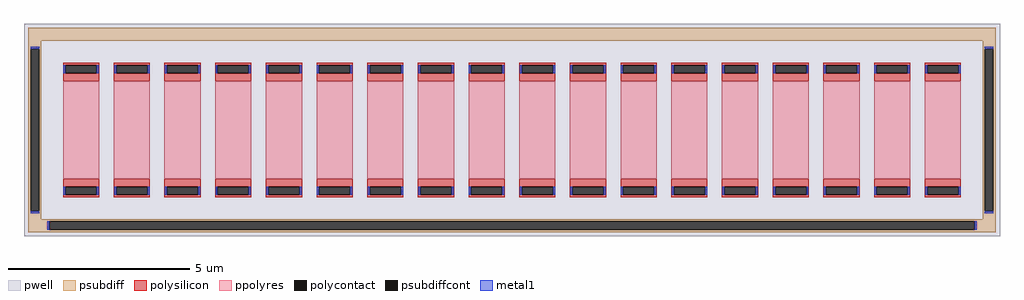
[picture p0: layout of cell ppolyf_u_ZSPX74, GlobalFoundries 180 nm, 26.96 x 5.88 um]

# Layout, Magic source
magic
tech gf180mcuD
magscale 1 10
<< pwell >>
rect -2696 -588 2696 588
<< psubdiff >>
rect -2672 492 2672 564
rect -2672 448 -2600 492
rect -2672 -448 -2659 448
rect -2613 -448 -2600 448
rect 2600 448 2672 492
rect -2672 -492 -2600 -448
rect 2600 -448 2613 448
rect 2659 -448 2672 448
rect 2600 -492 2672 -448
rect -2672 -505 2672 -492
rect -2672 -551 -2556 -505
rect 2556 -551 2672 -505
rect -2672 -564 2672 -551
<< psubdiffcont >>
rect -2659 -448 -2613 448
rect 2613 -448 2659 448
rect -2556 -551 2556 -505
<< polysilicon >>
rect -2480 359 -2280 372
rect -2480 313 -2467 359
rect -2293 313 -2280 359
rect -2480 270 -2280 313
rect -2480 -313 -2280 -270
rect -2480 -359 -2467 -313
rect -2293 -359 -2280 -313
rect -2480 -372 -2280 -359
rect -2200 359 -2000 372
rect -2200 313 -2187 359
rect -2013 313 -2000 359
rect -2200 270 -2000 313
rect -2200 -313 -2000 -270
rect -2200 -359 -2187 -313
rect -2013 -359 -2000 -313
rect -2200 -372 -2000 -359
rect -1920 359 -1720 372
rect -1920 313 -1907 359
rect -1733 313 -1720 359
rect -1920 270 -1720 313
rect -1920 -313 -1720 -270
rect -1920 -359 -1907 -313
rect -1733 -359 -1720 -313
rect -1920 -372 -1720 -359
rect -1640 359 -1440 372
rect -1640 313 -1627 359
rect -1453 313 -1440 359
rect -1640 270 -1440 313
rect -1640 -313 -1440 -270
rect -1640 -359 -1627 -313
rect -1453 -359 -1440 -313
rect -1640 -372 -1440 -359
rect -1360 359 -1160 372
rect -1360 313 -1347 359
rect -1173 313 -1160 359
rect -1360 270 -1160 313
rect -1360 -313 -1160 -270
rect -1360 -359 -1347 -313
rect -1173 -359 -1160 -313
rect -1360 -372 -1160 -359
rect -1080 359 -880 372
rect -1080 313 -1067 359
rect -893 313 -880 359
rect -1080 270 -880 313
rect -1080 -313 -880 -270
rect -1080 -359 -1067 -313
rect -893 -359 -880 -313
rect -1080 -372 -880 -359
rect -800 359 -600 372
rect -800 313 -787 359
rect -613 313 -600 359
rect -800 270 -600 313
rect -800 -313 -600 -270
rect -800 -359 -787 -313
rect -613 -359 -600 -313
rect -800 -372 -600 -359
rect -520 359 -320 372
rect -520 313 -507 359
rect -333 313 -320 359
rect -520 270 -320 313
rect -520 -313 -320 -270
rect -520 -359 -507 -313
rect -333 -359 -320 -313
rect -520 -372 -320 -359
rect -240 359 -40 372
rect -240 313 -227 359
rect -53 313 -40 359
rect -240 270 -40 313
rect -240 -313 -40 -270
rect -240 -359 -227 -313
rect -53 -359 -40 -313
rect -240 -372 -40 -359
rect 40 359 240 372
rect 40 313 53 359
rect 227 313 240 359
rect 40 270 240 313
rect 40 -313 240 -270
rect 40 -359 53 -313
rect 227 -359 240 -313
rect 40 -372 240 -359
rect 320 359 520 372
rect 320 313 333 359
rect 507 313 520 359
rect 320 270 520 313
rect 320 -313 520 -270
rect 320 -359 333 -313
rect 507 -359 520 -313
rect 320 -372 520 -359
rect 600 359 800 372
rect 600 313 613 359
rect 787 313 800 359
rect 600 270 800 313
rect 600 -313 800 -270
rect 600 -359 613 -313
rect 787 -359 800 -313
rect 600 -372 800 -359
rect 880 359 1080 372
rect 880 313 893 359
rect 1067 313 1080 359
rect 880 270 1080 313
rect 880 -313 1080 -270
rect 880 -359 893 -313
rect 1067 -359 1080 -313
rect 880 -372 1080 -359
rect 1160 359 1360 372
rect 1160 313 1173 359
rect 1347 313 1360 359
rect 1160 270 1360 313
rect 1160 -313 1360 -270
rect 1160 -359 1173 -313
rect 1347 -359 1360 -313
rect 1160 -372 1360 -359
rect 1440 359 1640 372
rect 1440 313 1453 359
rect 1627 313 1640 359
rect 1440 270 1640 313
rect 1440 -313 1640 -270
rect 1440 -359 1453 -313
rect 1627 -359 1640 -313
rect 1440 -372 1640 -359
rect 1720 359 1920 372
rect 1720 313 1733 359
rect 1907 313 1920 359
rect 1720 270 1920 313
rect 1720 -313 1920 -270
rect 1720 -359 1733 -313
rect 1907 -359 1920 -313
rect 1720 -372 1920 -359
rect 2000 359 2200 372
rect 2000 313 2013 359
rect 2187 313 2200 359
rect 2000 270 2200 313
rect 2000 -313 2200 -270
rect 2000 -359 2013 -313
rect 2187 -359 2200 -313
rect 2000 -372 2200 -359
rect 2280 359 2480 372
rect 2280 313 2293 359
rect 2467 313 2480 359
rect 2280 270 2480 313
rect 2280 -313 2480 -270
rect 2280 -359 2293 -313
rect 2467 -359 2480 -313
rect 2280 -372 2480 -359
<< polycontact >>
rect -2467 313 -2293 359
rect -2467 -359 -2293 -313
rect -2187 313 -2013 359
rect -2187 -359 -2013 -313
rect -1907 313 -1733 359
rect -1907 -359 -1733 -313
rect -1627 313 -1453 359
rect -1627 -359 -1453 -313
rect -1347 313 -1173 359
rect -1347 -359 -1173 -313
rect -1067 313 -893 359
rect -1067 -359 -893 -313
rect -787 313 -613 359
rect -787 -359 -613 -313
rect -507 313 -333 359
rect -507 -359 -333 -313
rect -227 313 -53 359
rect -227 -359 -53 -313
rect 53 313 227 359
rect 53 -359 227 -313
rect 333 313 507 359
rect 333 -359 507 -313
rect 613 313 787 359
rect 613 -359 787 -313
rect 893 313 1067 359
rect 893 -359 1067 -313
rect 1173 313 1347 359
rect 1173 -359 1347 -313
rect 1453 313 1627 359
rect 1453 -359 1627 -313
rect 1733 313 1907 359
rect 1733 -359 1907 -313
rect 2013 313 2187 359
rect 2013 -359 2187 -313
rect 2293 313 2467 359
rect 2293 -359 2467 -313
<< ppolyres >>
rect -2480 -270 -2280 270
rect -2200 -270 -2000 270
rect -1920 -270 -1720 270
rect -1640 -270 -1440 270
rect -1360 -270 -1160 270
rect -1080 -270 -880 270
rect -800 -270 -600 270
rect -520 -270 -320 270
rect -240 -270 -40 270
rect 40 -270 240 270
rect 320 -270 520 270
rect 600 -270 800 270
rect 880 -270 1080 270
rect 1160 -270 1360 270
rect 1440 -270 1640 270
rect 1720 -270 1920 270
rect 2000 -270 2200 270
rect 2280 -270 2480 270
<< metal1 >>
rect -2659 448 -2613 459
rect 2613 448 2659 459
rect -2478 313 -2467 359
rect -2293 313 -2282 359
rect -2198 313 -2187 359
rect -2013 313 -2002 359
rect -1918 313 -1907 359
rect -1733 313 -1722 359
rect -1638 313 -1627 359
rect -1453 313 -1442 359
rect -1358 313 -1347 359
rect -1173 313 -1162 359
rect -1078 313 -1067 359
rect -893 313 -882 359
rect -798 313 -787 359
rect -613 313 -602 359
rect -518 313 -507 359
rect -333 313 -322 359
rect -238 313 -227 359
rect -53 313 -42 359
rect 42 313 53 359
rect 227 313 238 359
rect 322 313 333 359
rect 507 313 518 359
rect 602 313 613 359
rect 787 313 798 359
rect 882 313 893 359
rect 1067 313 1078 359
rect 1162 313 1173 359
rect 1347 313 1358 359
rect 1442 313 1453 359
rect 1627 313 1638 359
rect 1722 313 1733 359
rect 1907 313 1918 359
rect 2002 313 2013 359
rect 2187 313 2198 359
rect 2282 313 2293 359
rect 2467 313 2478 359
rect -2478 -359 -2467 -313
rect -2293 -359 -2282 -313
rect -2198 -359 -2187 -313
rect -2013 -359 -2002 -313
rect -1918 -359 -1907 -313
rect -1733 -359 -1722 -313
rect -1638 -359 -1627 -313
rect -1453 -359 -1442 -313
rect -1358 -359 -1347 -313
rect -1173 -359 -1162 -313
rect -1078 -359 -1067 -313
rect -893 -359 -882 -313
rect -798 -359 -787 -313
rect -613 -359 -602 -313
rect -518 -359 -507 -313
rect -333 -359 -322 -313
rect -238 -359 -227 -313
rect -53 -359 -42 -313
rect 42 -359 53 -313
rect 227 -359 238 -313
rect 322 -359 333 -313
rect 507 -359 518 -313
rect 602 -359 613 -313
rect 787 -359 798 -313
rect 882 -359 893 -313
rect 1067 -359 1078 -313
rect 1162 -359 1173 -313
rect 1347 -359 1358 -313
rect 1442 -359 1453 -313
rect 1627 -359 1638 -313
rect 1722 -359 1733 -313
rect 1907 -359 1918 -313
rect 2002 -359 2013 -313
rect 2187 -359 2198 -313
rect 2282 -359 2293 -313
rect 2467 -359 2478 -313
rect -2659 -459 -2613 -448
rect 2613 -459 2659 -448
rect -2567 -551 -2556 -505
rect 2556 -551 2567 -505
<< properties >>
string FIXED_BBOX -2636 -528 2636 528
string gencell ppolyf_u
string library gf180mcu
string parameters w 1.0 l 2.7 m 1 nx 18 wmin 0.80 lmin 1.00 class resistor rho 315 val 901.908 dummy 0 dw 0.057 term 0.0 sterm 0.0 caplen 0.4 snake 0 guard 1 guard_type pwell glc 1 grc 1 gtc 0 gbc 1 roverlap 0 endcov 100 full_metal 0
<< end >>
